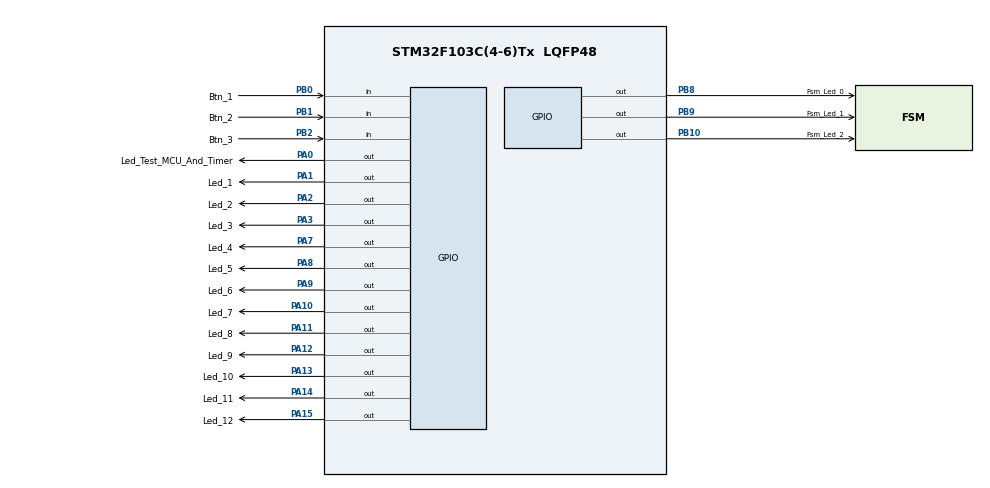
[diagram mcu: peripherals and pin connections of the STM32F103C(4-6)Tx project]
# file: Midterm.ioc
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Mcu.Family=STM32F1
Mcu.Name=STM32F103C(4-6)Tx
Mcu.Package=LQFP48
NVIC.PriorityGroup=NVIC_PRIORITYGROUP_4
NVIC.TIM2_IRQn=true\:0\:0\:false\:false\:true\:true\:true
PA0-WKUP.GPIO_Label=Led_Test_MCU_And_Timer
PA0-WKUP.Signal=GPIO_Output
PA1.GPIO_Label=Led_1
PA1.Signal=GPIO_Output
PA10.GPIO_Label=Led_7
PA10.Signal=GPIO_Output
PA11.GPIO_Label=Led_8
PA11.Signal=GPIO_Output
PA12.GPIO_Label=Led_9
PA12.Signal=GPIO_Output
PA13.GPIO_Label=Led_10
PA13.Signal=GPIO_Output
PA14.GPIO_Label=Led_11
PA14.Signal=GPIO_Output
PA15.GPIO_Label=Led_12
PA15.Signal=GPIO_Output
PA2.GPIO_Label=Led_2
PA2.Signal=GPIO_Output
PA3.GPIO_Label=Led_3
PA3.Signal=GPIO_Output
PA7.GPIO_Label=Led_4
PA7.Signal=GPIO_Output
PA8.GPIO_Label=Led_5
PA8.Signal=GPIO_Output
PA9.GPIO_Label=Led_6
PA9.Signal=GPIO_Output
PB0.GPIO_Label=Btn_1
PB0.Signal=GPIO_Input
PB1.GPIO_Label=Btn_2
PB1.Signal=GPIO_Input
PB10.GPIO_Label=Fsm_Led_2
PB10.Signal=GPIO_Output
PB2.GPIO_Label=Btn_3
PB2.Signal=GPIO_Input
PB8.GPIO_Label=Fsm_Led_0
PB8.Signal=GPIO_Output
PB9.GPIO_Label=Fsm_Led_1
PB9.Signal=GPIO_Output
ProjectManager.HeapSize=0x200
ProjectManager.StackSize=0x400
ProjectManager.TargetToolchain=STM32CubeIDE
RCC.APB1Freq_Value=8000000
RCC.APB2Freq_Value=8000000
TIM2.Period=9
TIM2.Prescaler=7999
VP_SYS_VS_ND.Mode=No_Debug
VP_TIM2_VS_ClockSourceINT.Mode=Internal
board=custom

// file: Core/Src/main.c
/* USER CODE BEGIN Header */
/**
  ******************************************************************************
  * @file           : main.c
  * @brief          : Main program body
  ******************************************************************************
  * @attention
  *
  * <h2><center>&copy; Copyright (c) 2021 STMicroelectronics.
  * All rights reserved.</center></h2>
  *
  * This software component is licensed by ST under BSD 3-Clause license,
  * the "License"; You may not use this file except in compliance with the
  * License. You may obtain a copy of the License at:
  *                        opensource.org/licenses/BSD-3-Clause
  *
  ******************************************************************************
  */
/* USER CODE END Header */
#include "main.h"

/* USER CODE BEGIN Includes */
#include "timer.h"
#include "input_processing.h"
/* USER CODE END Includes */

TIM_HandleTypeDef htim2;

void SystemClock_Config(void);
static void MX_GPIO_Init(void);
static void MX_TIM2_Init(void);

/* USER CODE BEGIN 0 */
void initState() {
	HAL_TIM_Base_Start_IT(&htim2);
	HAL_GPIO_WritePin(GPIOA, GPIO_PIN_All, GPIO_PIN_RESET);
	HAL_GPIO_WritePin(GPIOB, GPIO_PIN_All, GPIO_PIN_RESET);
	HAL_Delay(1000);
	HAL_GPIO_WritePin(GPIOA, GPIO_PIN_All, GPIO_PIN_SET);
}
/* USER CODE END 0 */

int main(void)
{

  /* MCU Configuration--------------------------------------------------------*/

  /* Reset of all peripherals, Initializes the Flash interface and the Systick. */
  HAL_Init();

  /* Configure the system clock */
  SystemClock_Config();

  /* Initialize all configured peripherals */
  MX_GPIO_Init();
  MX_TIM2_Init();
  /* USER CODE BEGIN 2 */
  initState();
  /* USER CODE END 2 */

  /* Infinite loop */
  while (1)
  {

    /* USER CODE BEGIN 3 */
	  fsm_for_input_processing();

	  if (timer0_getFlag() == 1){
		  HAL_GPIO_TogglePin(Led_Test_MCU_And_Timer_GPIO_Port, Led_Test_MCU_And_Timer_Pin);
		  HAL_GPIO_TogglePin(GPIOB, fsmLed);
		  displayClock();

		  timer0_set(1000);
	  }
  }
  /* USER CODE END 3 */
}

void SystemClock_Config(void)
{
  RCC_OscInitTypeDef RCC_OscInitStruct = {0};
  RCC_ClkInitTypeDef RCC_ClkInitStruct = {0};

  /** Initializes the RCC Oscillators according to the specified parameters
  * in the RCC_OscInitTypeDef structure.
  */
  RCC_OscInitStruct.OscillatorType = RCC_OSCILLATORTYPE_HSI;
  RCC_OscInitStruct.HSIState = RCC_HSI_ON;
  RCC_OscInitStruct.HSICalibrationValue = RCC_HSICALIBRATION_DEFAULT;
  RCC_OscInitStruct.PLL.PLLState = RCC_PLL_NONE;
  if (HAL_RCC_OscConfig(&RCC_OscInitStruct) != HAL_OK)
  {
    Error_Handler();
  }
  /** Initializes the CPU, AHB and APB buses clocks
  */
  RCC_ClkInitStruct.ClockType = RCC_CLOCKTYPE_HCLK|RCC_CLOCKTYPE_SYSCLK
                              |RCC_CLOCKTYPE_PCLK1|RCC_CLOCKTYPE_PCLK2;
  RCC_ClkInitStruct.SYSCLKSource = RCC_SYSCLKSOURCE_HSI;
  RCC_ClkInitStruct.AHBCLKDivider = RCC_SYSCLK_DIV1;
  RCC_ClkInitStruct.APB1CLKDivider = RCC_HCLK_DIV1;
  RCC_ClkInitStruct.APB2CLKDivider = RCC_HCLK_DIV1;

  if (HAL_RCC_ClockConfig(&RCC_ClkInitStruct, FLASH_LATENCY_0) != HAL_OK)
  {
    Error_Handler();
  }
}

static void MX_TIM2_Init(void)
{

  TIM_ClockConfigTypeDef sClockSourceConfig = {0};
  TIM_MasterConfigTypeDef sMasterConfig = {0};

  htim2.Instance = TIM2;
  htim2.Init.Prescaler = 7999;
  htim2.Init.CounterMode = TIM_COUNTERMODE_UP;
  htim2.Init.Period = 9;
  htim2.Init.ClockDivision = TIM_CLOCKDIVISION_DIV1;
  htim2.Init.AutoReloadPreload = TIM_AUTORELOAD_PRELOAD_DISABLE;
  if (HAL_TIM_Base_Init(&htim2) != HAL_OK)
  {
    Error_Handler();
  }
  sClockSourceConfig.ClockSource = TIM_CLOCKSOURCE_INTERNAL;
  if (HAL_TIM_ConfigClockSource(&htim2, &sClockSourceConfig) != HAL_OK)
  {
    Error_Handler();
  }
  sMasterConfig.MasterOutputTrigger = TIM_TRGO_RESET;
  sMasterConfig.MasterSlaveMode = TIM_MASTERSLAVEMODE_DISABLE;
  if (HAL_TIMEx_MasterConfigSynchronization(&htim2, &sMasterConfig) != HAL_OK)
  {
    Error_Handler();
  }

}

static void MX_GPIO_Init(void)
{
  GPIO_InitTypeDef GPIO_InitStruct = {0};

  /* GPIO Ports Clock Enable */
  __HAL_RCC_GPIOA_CLK_ENABLE();
  __HAL_RCC_GPIOB_CLK_ENABLE();

  /*Configure GPIO pin Output Level */
  HAL_GPIO_WritePin(GPIOA, Led_Test_MCU_And_Timer_Pin|Led_1_Pin|Led_2_Pin|Led_3_Pin
                          |Led_4_Pin|Led_5_Pin|Led_6_Pin|Led_7_Pin
                          |Led_8_Pin|Led_9_Pin|Led_10_Pin|Led_11_Pin
                          |Led_12_Pin, GPIO_PIN_RESET);

  /*Configure GPIO pin Output Level */
  HAL_GPIO_WritePin(GPIOB, Fsm_Led_2_Pin|Fsm_Led_0_Pin|Fsm_Led_1_Pin, GPIO_PIN_RESET);

  /*Configure GPIO pins : Led_Test_MCU_And_Timer_Pin Led_1_Pin Led_2_Pin Led_3_Pin
                           Led_4_Pin Led_5_Pin Led_6_Pin Led_7_Pin
                           Led_8_Pin Led_9_Pin Led_10_Pin Led_11_Pin
                           Led_12_Pin */
  GPIO_InitStruct.Pin = Led_Test_MCU_And_Timer_Pin|Led_1_Pin|Led_2_Pin|Led_3_Pin
                          |Led_4_Pin|Led_5_Pin|Led_6_Pin|Led_7_Pin
                          |Led_8_Pin|Led_9_Pin|Led_10_Pin|Led_11_Pin
                          |Led_12_Pin;
  GPIO_InitStruct.Mode = GPIO_MODE_OUTPUT_PP;
  GPIO_InitStruct.Pull = GPIO_NOPULL;
  GPIO_InitStruct.Speed = GPIO_SPEED_FREQ_LOW;
  HAL_GPIO_Init(GPIOA, &GPIO_InitStruct);

  /*Configure GPIO pins : Btn_1_Pin Btn_2_Pin Btn_3_Pin */
  GPIO_InitStruct.Pin = Btn_1_Pin|Btn_2_Pin|Btn_3_Pin;
  GPIO_InitStruct.Mode = GPIO_MODE_INPUT;
  GPIO_InitStruct.Pull = GPIO_NOPULL;
  HAL_GPIO_Init(GPIOB, &GPIO_InitStruct);

  /*Configure GPIO pins : Fsm_Led_2_Pin Fsm_Led_0_Pin Fsm_Led_1_Pin */
  GPIO_InitStruct.Pin = Fsm_Led_2_Pin|Fsm_Led_0_Pin|Fsm_Led_1_Pin;
  GPIO_InitStruct.Mode = GPIO_MODE_OUTPUT_PP;
  GPIO_InitStruct.Pull = GPIO_NOPULL;
  GPIO_InitStruct.Speed = GPIO_SPEED_FREQ_LOW;
  HAL_GPIO_Init(GPIOB, &GPIO_InitStruct);

}

void Error_Handler(void)
{
  __disable_irq();
  while (1)
  {
  }
}

/************************ (C) COPYRIGHT STMicroelectronics *****END OF FILE****/
